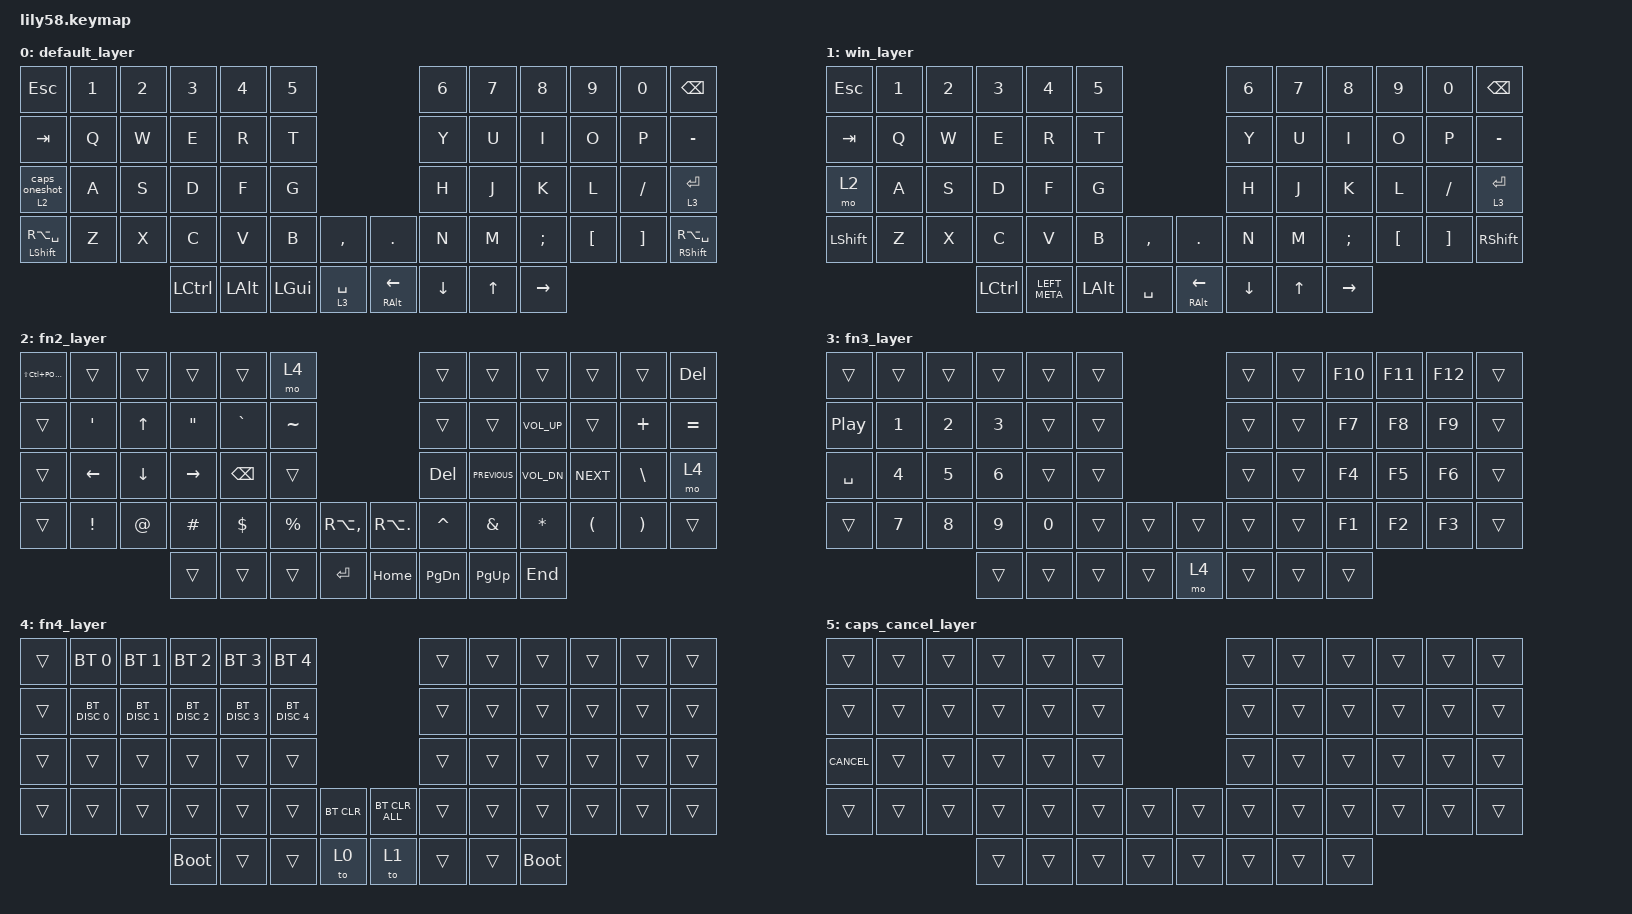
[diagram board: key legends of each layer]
/*
 * Copyright (c) 2020 The ZMK Contributors
 *
 * SPDX-License-Identifier: MIT
 */

#include <behaviors.dtsi>
#include <dt-bindings/zmk/bt.h>
#include <dt-bindings/zmk/keys.h>

#define CAPS_CANCEL_LAYER 5
#define CAPS_STICKY_TIMEOUT_MS 2147483647

/ {
    combos { compatible = "zmk,combos"; };

    macros {
        caps_oneshot: caps_oneshot {
            compatible = "zmk,behavior-macro";
            label = "CAPS_ONESHOT";
            #binding-cells = <0>;
            wait-ms = <0>;
            tap-ms = <0>;
            bindings = <&caps_sticky CAPS &caps_cancel_layer CAPS_CANCEL_LAYER>;
        };
    };

    behaviors {
        ss_hs_modmorph: ss_hs_modmorph {
            compatible = "zmk,behavior-mod-morph";
            label = "SS_HS_MODMORPH";
            bindings = <&kp M>, <&kp RIGHT_BRACKET>;

            #binding-cells = <0>;
            mods = <(MOD_LSFT|MOD_RSFT)>;
        };

        kh_hs_tapdance: kh_hs_tapdance {
            compatible = "zmk,behavior-tap-dance";
            label = "KH_HS_TAPDANCE";
            #binding-cells = <0>;
            tapping-term-ms = <200>;
            bindings = <&kp LEFT_BRACKET>, <&kp RIGHT_BRACKET>;
        };

        hrm: hrm {
            compatible = "zmk,behavior-hold-tap";
            #binding-cells = <2>;
            flavor = "tap-preferred";
            tapping-term-ms = <200>;
            quick-tap-ms = <200>;
            require-prior-idle-ms = <125>;
            bindings = <&kp>, <&kp>;
        };

        caps_sticky: caps_sticky {
            compatible = "zmk,behavior-sticky-key";
            label = "CAPS_STICKY";
            #binding-cells = <1>;
            bindings = <&kp>;
            release-after-ms = <CAPS_STICKY_TIMEOUT_MS>;
        };

        caps_cancel_layer: caps_cancel_layer {
            compatible = "zmk,behavior-sticky-key";
            label = "CAPS_CANCEL_LAYER";
            #binding-cells = <1>;
            bindings = <&mo>;
            release-after-ms = <CAPS_STICKY_TIMEOUT_MS>;
            quick-release;
        };

        fn2_caps: fn2_caps {
            compatible = "zmk,behavior-hold-tap";
            label = "FN2_CAPS";
            #binding-cells = <2>;
            // Resolve chords on the next key press; use a shorter timeout for a lone hold.
            flavor = "hold-preferred";
            tapping-term-ms = <150>;
            bindings = <&mo>, <&caps_oneshot>;
        };
    };

    keymap {
        compatible = "zmk,keymap";

        default_layer {
            // ------------------------------------------------------------------------------------------------------------
            // |  ESC  |  1  |  2  |  3   |  4   |  5   |                   |  6   |  7    |  8    |  9   |   0   |   `   |
            // |  TAB  |  Q  |  W  |  E   |  R   |  T   |                   |  Y   |  U    |  I    |  O   |   P   |   -   |
            // |FN2/CAPS| A  |  S  |  D   |  F   |  G   |                   |  H   |  J    |  K    |  L   |   ;   |   '   |
            // | SHIFT |  Z  |  X  |  C   |  V   |  B   |   "["  |  |  "]"  |  N   |  M    |  ,    |  .   |   /   | SHIFT |
            //                     | ALT  | GUI  | LOWER|  SPACE |  | ENTER | RAISE| BSPC  | GUI   |

            bindings = <
&kp ESC                   &kp N1  &kp N2  &kp N3     &kp N4        &kp N5                                                 &kp N6          &kp N7        &kp N8           &kp N9            &kp N0             &kp BACKSPACE
&kp TAB                   &kp Q   &kp W   &kp E      &kp R         &kp T                                                  &kp Y           &kp U         &kp I            &kp O             &kp P              &kp MINUS
&fn2_caps 2 0             &kp A   &kp S   &kp D      &kp F         &kp G                                                  &kp H           &kp J         &kp K            &kp L             &kp FSLH           &lt 3 ENTER
&mt LEFT_SHIFT RA(SPACE)  &kp Z   &kp X   &kp C      &kp V         &kp B         &kp COMMA      &kp DOT                   &kp N           &kp M         &kp SEMI         &kp LEFT_BRACKET  &kp RIGHT_BRACKET  &mt RSHFT RA(SPACE)
                                          &kp LCTRL  &kp LEFT_ALT  &kp LEFT_GUI  &lt 3 SPACE    &mt RIGHT_ALT LEFT_ARROW  &kp DOWN_ARROW  &kp UP_ARROW  &kp RIGHT_ARROW
            >;
        };

        win_layer {
            bindings = <
&kp ESC         &kp N1  &kp N2  &kp N3     &kp N4         &kp N5                                               &kp N6          &kp N7        &kp N8           &kp N9            &kp N0             &kp BACKSPACE
&kp TAB         &kp Q   &kp W   &kp E      &kp R          &kp T                                                &kp Y           &kp U         &kp I            &kp O             &kp P              &kp MINUS
&mo 2           &kp A   &kp S   &kp D      &kp F          &kp G                                                &kp H           &kp J         &kp K            &kp L             &kp SLASH          &lt 3 ENTER
&kp LEFT_SHIFT  &kp Z   &kp X   &kp C      &kp V          &kp B         &kp COMMA    &kp DOT                   &kp N           &kp M         &kp SEMI         &kp LEFT_BRACKET  &kp RIGHT_BRACKET  &kp RSHFT
                                &kp LCTRL  &kp LEFT_META  &kp LEFT_ALT  &kp SPACE    &mt RIGHT_ALT LEFT_ARROW  &kp DOWN_ARROW  &kp UP_ARROW  &kp RIGHT_ARROW
            >;
        };

        fn2_layer {
            // ------------------------------------------------------------------------------------------------------------
            // |       |     |     |      |      |      |                   |      |       |       |      |       |       |
            // |   `   |  1  |  2  |  3   |  4   |  5   |                   |  6   |   7   |   8   |  9   |   0   |       |
            // |   F1  |  F2 |  F3 |  F4  |  F5  |  F6  |                   |      |   <-  |   v   |  ^   |  ->   |       |
            // |   F7  |  F8 |  F9 |  F10 |  F11 |  F12 |        |  |       |  +   |   -   |   =   |  [   |   ]   |   \   |
            //                     |      |      |      |        |  |       |      |       |       |

            bindings = <
&kp LS(LC(K_POWER))  &trans            &trans          &trans             &trans         &mo 4                                      &trans         &trans          &trans           &trans                &trans                 &kp DELETE
&trans               &kp SINGLE_QUOTE  &kp UP_ARROW    &kp DOUBLE_QUOTES  &kp GRAVE      &kp TILDE                                  &trans         &trans          &kp C_VOLUME_UP  &trans                &kp PLUS               &kp EQUAL
&trans               &kp LEFT_ARROW    &kp DOWN_ARROW  &kp RIGHT_ARROW    &kp BACKSPACE  &trans                                     &kp DELETE     &kp C_PREVIOUS  &kp C_VOL_DN     &kp C_NEXT            &kp BACKSLASH          &mo 4
&trans               &kp EXCLAMATION   &kp AT_SIGN     &kp HASH           &kp DOLLAR     &kp PERCENT  &kp RA(COMMA)    &kp RA(DOT)  &kp CARET      &kp AMPERSAND   &kp ASTERISK     &kp LEFT_PARENTHESIS  &kp RIGHT_PARENTHESIS  &trans
                                                       &trans             &trans         &trans       &kp ENTER        &kp HOME     &kp PAGE_DOWN  &kp PAGE_UP     &kp END
            >;
        };

        fn3_layer {
            bindings = <
&trans            &trans        &trans        &trans        &trans  &trans                    &trans  &trans  &kp F10  &kp F11  &kp F12  &trans
&kp C_PLAY_PAUSE  &kp NUMBER_1  &kp NUMBER_2  &kp NUMBER_3  &trans  &trans                    &trans  &trans  &kp F7   &kp F8   &kp F9   &trans
&kp SPACE         &kp NUMBER_4  &kp N5        &kp NUMBER_6  &trans  &trans                    &trans  &trans  &kp F4   &kp F5   &kp F6   &trans
&trans            &kp N7        &kp N8        &kp N9        &kp N0  &trans  &trans    &trans  &trans  &trans  &kp F1   &kp F2   &kp F3   &trans
                                              &trans        &trans  &trans  &trans    &mo 4   &trans  &trans  &trans
            >;
        };

        fn4_layer {
            bindings = <
&trans  &bt BT_SEL 0   &bt BT_SEL 1   &bt BT_SEL 2   &bt BT_SEL 3   &bt BT_SEL 4                                 &trans  &trans  &trans       &trans  &trans  &trans
&trans  &bt BT_DISC 0  &bt BT_DISC 1  &bt BT_DISC 2  &bt BT_DISC 3  &bt BT_DISC 4                                &trans  &trans  &trans       &trans  &trans  &trans
&trans  &trans         &trans         &trans         &trans         &trans                                       &trans  &trans  &trans       &trans  &trans  &trans
&trans  &trans         &trans         &trans         &trans         &trans         &bt BT_CLR    &bt BT_CLR_ALL  &trans  &trans  &trans       &trans  &trans  &trans
                                      &bootloader    &trans         &trans         &to 0         &to 1           &trans  &trans  &bootloader
            >;
        };

        caps_cancel_layer {
            // A second tap sends a harmless keycode that releases both sticky behaviors.

            bindings = <
&trans        &trans  &trans  &trans  &trans  &trans                    &trans  &trans  &trans  &trans  &trans  &trans
&trans        &trans  &trans  &trans  &trans  &trans                    &trans  &trans  &trans  &trans  &trans  &trans
&kp K_CANCEL  &trans  &trans  &trans  &trans  &trans                    &trans  &trans  &trans  &trans  &trans  &trans
&trans        &trans  &trans  &trans  &trans  &trans  &trans    &trans  &trans  &trans  &trans  &trans  &trans  &trans
                              &trans  &trans  &trans  &trans    &trans  &trans  &trans  &trans
            >;
        };
    };
};
